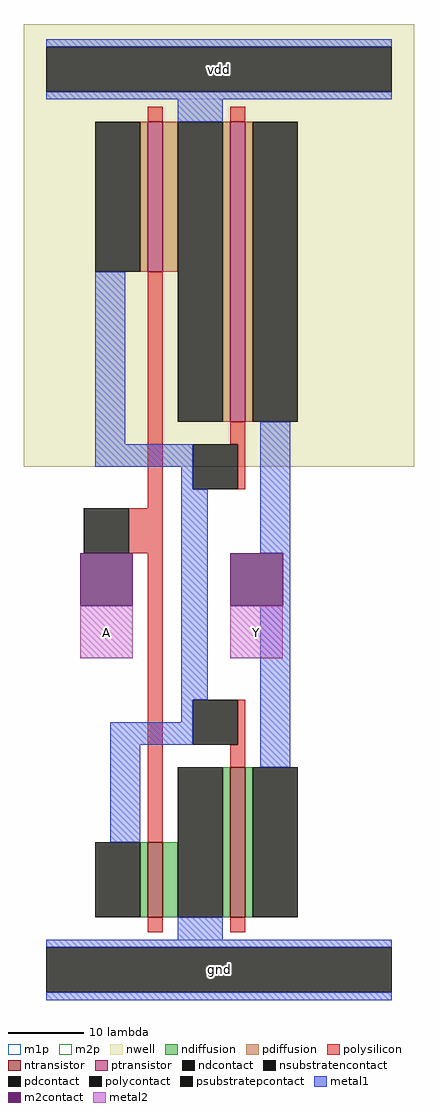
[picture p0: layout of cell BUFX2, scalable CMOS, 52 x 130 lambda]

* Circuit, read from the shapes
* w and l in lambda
.subckt BUFX2 A Y vdd gnd
M1 gnd A n1 gnd nfet w=10 l=2
M2 Y n1 gnd gnd nfet w=20 l=2
M3 vdd A n1 vdd pfet w=20 l=2
M4 Y n1 vdd vdd pfet w=40 l=2
.ends

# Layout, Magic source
magic
tech scmos
magscale 1 2
<< nwell >>
rect -12 134 92 252
<< ntransistor >>
rect 21 14 25 34
rect 43 14 47 54
<< ptransistor >>
rect 21 186 25 226
rect 43 146 47 226
<< ndiffusion >>
rect 19 14 21 34
rect 25 14 29 34
rect 41 14 43 54
rect 47 14 49 54
<< pdiffusion >>
rect 19 186 21 226
rect 25 186 29 226
rect 41 146 43 226
rect 47 146 49 226
<< ndcontact >>
rect 7 14 19 34
rect 29 14 41 54
rect 49 14 61 54
<< pdcontact >>
rect 7 186 19 226
rect 29 146 41 226
rect 49 146 61 226
<< psubstratepcontact >>
rect -6 -6 86 6
<< nsubstratencontact >>
rect -6 234 86 246
<< polysilicon >>
rect 21 226 25 230
rect 43 226 47 230
rect 21 123 25 186
rect 43 140 47 146
rect 45 128 47 140
rect 16 111 25 123
rect 21 34 25 111
rect 45 60 47 72
rect 43 54 47 60
rect 21 10 25 14
rect 43 10 47 14
<< polycontact >>
rect 33 128 45 140
rect 4 111 16 123
rect 33 60 45 72
<< metal1 >>
rect -6 246 86 248
rect -6 232 86 234
rect 29 226 41 232
rect 7 140 15 186
rect 7 134 33 140
rect 30 128 33 134
rect 30 72 37 128
rect 51 111 59 146
rect 57 97 59 111
rect 30 66 33 72
rect 11 60 33 66
rect 11 34 19 60
rect 51 54 59 97
rect 29 8 41 14
rect -6 6 86 8
rect -6 -8 86 -6
<< m2contact >>
rect 3 97 17 111
rect 43 97 57 111
<< metal2 >>
rect 3 83 17 97
rect 43 83 57 97
<< m1p >>
rect -6 232 86 248
rect -6 -8 86 8
<< m2p >>
rect 3 83 17 97
rect 43 83 57 97
<< labels >>
rlabel metal1 -6 -8 86 8 0 gnd
port 3 nsew ground bidirectional abutment
rlabel metal1 -6 232 86 248 0 vdd
port 2 nsew power bidirectional abutment
rlabel metal2 3 83 17 97 0 A
port 0 nsew signal input
rlabel metal2 43 83 57 97 0 Y
port 1 nsew signal output
<< properties >>
string FIXED_BBOX 0 0 80 240
string LEFclass CORE
string LEFsite core
string LEFsymmetry X Y
<< end >>
